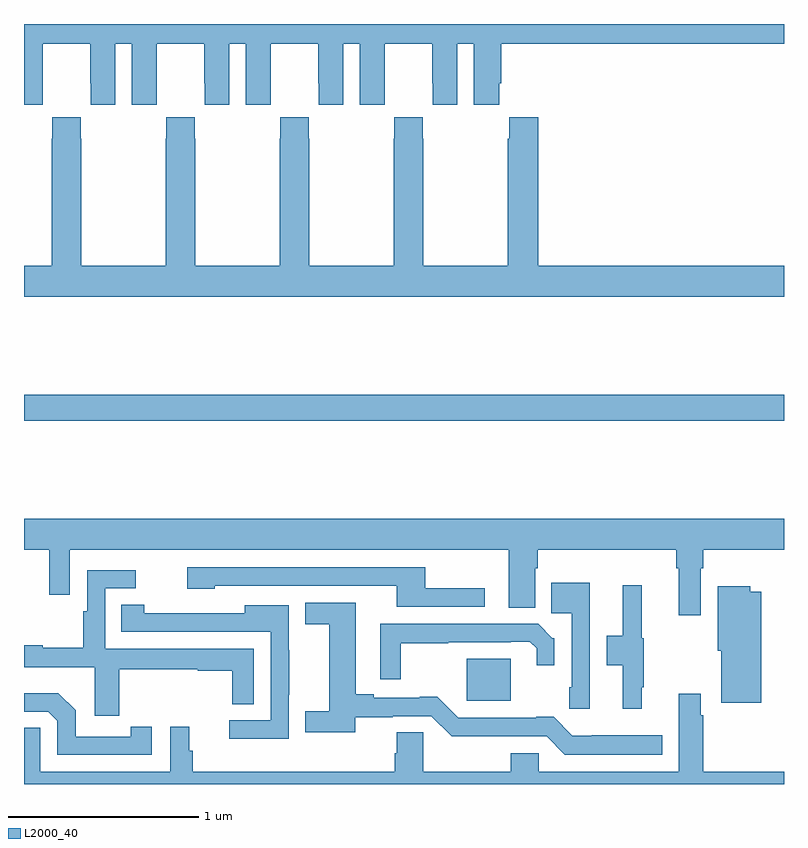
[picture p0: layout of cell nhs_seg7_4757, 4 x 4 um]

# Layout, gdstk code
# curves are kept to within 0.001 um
import gdstk
lib = gdstk.Library(unit=1e-6, precision=1e-09)
def R(c, l, rs):  # rectangles x0, y0, x1, y1
    for r in rs: c.add(gdstk.rectangle(r[:2], r[2:], *l))
def P(c, l, *ps):  # polygons
    for p in ps: c.add(gdstk.Polygon(p, *l))
L2000_40 = (2000, 40)

nhs_seg7_4757 = lib.new_cell('nhs_seg7_4757')
R(nhs_seg7_4757, L2000_40, [(411.329,1050.437,411.562,1050.658), (409,1051.912,413,1052.048)])
P(nhs_seg7_4757, L2000_40, [(409,1053.576),(409.098,1053.576),(409.098,1053.688),(409.099,1053.688),(409.099,1053.896),(409.349,1053.896),(409.349,1053.688),(409.35,1053.688),(409.35,1053.576),(409.48,1053.576),(409.48,1053.896),(409.568,1053.896),(409.568,1053.576),(409.698,1053.576),(409.698,1053.688),(409.699,1053.688),(409.699,1053.896),(409.949,1053.896),(409.949,1053.688),(409.95,1053.688),(409.95,1053.576),(410.08,1053.576),(410.08,1053.896),(410.168,1053.896),(410.168,1053.576),(410.298,1053.576),(410.298,1053.688),(410.299,1053.688),(410.299,1053.896),(410.549,1053.896),(410.549,1053.688),(410.55,1053.688),(410.55,1053.576),(410.68,1053.576),(410.68,1053.896),(410.768,1053.896),(410.768,1053.576),(410.898,1053.576),(410.898,1053.688),(410.899,1053.688),(410.899,1053.896),(411.149,1053.896),(411.149,1053.688),(411.15,1053.688),(411.15,1053.576),(411.28,1053.576),(411.28,1053.896),(411.368,1053.896),(411.368,1053.576),(411.502,1053.576),(411.502,1053.688),(411.512,1053.688),(411.512,1053.896),(413,1053.896),(413,1054),(409,1054)],
  [(413,1052.728),(411.707,1052.728),(411.707,1053.508),(411.553,1053.508),(411.553,1053.395),(411.547,1053.395),(411.547,1052.728),(411.102,1052.728),(411.102,1053.395),(411.099,1053.395),(411.099,1053.508),(410.949,1053.508),(410.949,1053.395),(410.947,1053.395),(410.947,1052.728),(410.502,1052.728),(410.502,1053.395),(410.499,1053.395),(410.499,1053.508),(410.349,1053.508),(410.349,1053.395),(410.347,1053.395),(410.347,1052.728),(409.902,1052.728),(409.902,1053.395),(409.899,1053.395),(409.899,1053.508),(409.749,1053.508),(409.749,1053.395),(409.747,1053.395),(409.747,1052.728),(409.302,1052.728),(409.302,1053.395),(409.299,1053.395),(409.299,1053.508),(409.149,1053.508),(409.149,1053.395),(409.147,1053.395),(409.147,1052.728),(409,1052.728),(409,1052.564),(413,1052.564)],
  [(409,1051.232),(409.134,1051.232),(409.134,1050.996),(409.242,1050.996),(409.242,1051.232),(411.551,1051.232),(411.551,1050.928),(411.691,1050.928),(411.691,1051.136),(411.704,1051.136),(411.704,1051.232),(412.433,1051.232),(412.433,1051.136),(412.445,1051.136),(412.445,1050.888),(412.561,1050.888),(412.561,1051.136),(412.574,1051.136),(412.574,1051.232),(413,1051.232),(413,1051.396),(409,1051.396)],
  [(411.424,1051.031),(411.111,1051.031),(411.111,1051.14),(409.86,1051.14),(409.86,1051.028),(410.004,1051.028),(410.004,1051.044),(410.963,1051.044),(410.963,1050.933),(411.424,1050.933)],
  [(409.501,1050.603),(409.915,1050.603),(409.915,1050.595),(410.096,1050.595),(410.096,1050.421),(410.208,1050.421),(410.208,1050.711),(409.428,1050.711),(409.428,1051.029),(409.588,1051.029),(409.588,1051.125),(409.332,1051.125),(409.332,1050.908),(409.312,1050.908),(409.312,1050.716),(409.098,1050.716),(409.098,1050.731),(409,1050.731),(409,1050.614),(409.373,1050.614),(409.373,1050.36),(409.501,1050.36)],
  [(411.978,1051.06),(411.776,1051.06),(411.776,1050.9),(411.882,1050.9),(411.882,1050.508),(411.87,1050.508),(411.87,1050.396),(411.978,1050.396)],
  [(412.25,1050.508),(412.261,1050.508),(412.261,1050.768),(412.25,1050.768),(412.25,1051.045),(412.151,1051.045),(412.151,1050.78),(412.067,1050.78),(412.067,1050.625),(412.151,1050.625),(412.151,1050.396),(412.25,1050.396)],
  [(412.879,1051.012),(412.823,1051.012),(412.823,1051.042),(412.652,1051.042),(412.652,1050.702),(412.67,1050.702),(412.67,1050.428),(412.879,1050.428)],
  [(412.36,1050.256),(411.885,1050.255),(411.787,1050.353),(411.695,1050.353),(411.695,1050.348),(411.285,1050.348),(411.175,1050.458),(411.083,1050.458),(411.083,1050.453),(410.842,1050.453),(410.842,1050.473),(410.746,1050.473),(410.746,1050.955),(410.479,1050.955),(410.479,1050.841),(410.606,1050.841),(410.606,1050.383),(410.479,1050.383),(410.479,1050.272),(410.743,1050.272),(410.743,1050.352),(410.94,1050.352),(410.94,1050.357),(411.144,1050.357),(411.251,1050.251),(411.75,1050.252),(411.847,1050.155),(412.36,1050.155)],
  [(410.394,1050.469),(410.396,1050.469),(410.396,1050.704),(410.394,1050.704),(410.394,1050.94),(410.162,1050.94),(410.162,1050.898),(409.632,1050.898),(409.632,1050.944),(409.513,1050.944),(409.513,1050.801),(410.298,1050.801),(410.298,1050.336),(410.079,1050.336),(410.079,1050.239),(410.394,1050.239)],
  [(410.983,1050.742),(411.233,1050.742),(411.233,1050.747),(411.563,1050.747),(411.563,1050.75),(411.662,1050.75),(411.698,1050.714),(411.698,1050.624),(411.792,1050.624),(411.792,1050.768),(411.781,1050.768),(411.706,1050.843),(410.874,1050.843),(410.874,1050.552),(410.983,1050.552)],
  [(409.672,1050.301),(409.562,1050.301),(409.562,1050.249),(409.272,1050.249),(409.272,1050.387),(409.181,1050.478),(409,1050.478),(409,1050.381),(409.128,1050.381),(409.176,1050.333),(409.176,1050.153),(409.672,1050.153)],
  [(413,1050.064),(412.574,1050.064),(412.574,1050.362),(412.561,1050.362),(412.561,1050.475),(412.445,1050.475),(412.445,1050.064),(411.708,1050.064),(411.708,1050.162),(411.562,1050.162),(411.562,1050.064),(411.102,1050.064),(411.102,1050.272),(410.963,1050.272),(410.963,1050.162),(410.951,1050.162),(410.951,1050.064),(409.888,1050.064),(409.888,1050.174),(409.87,1050.174),(409.87,1050.301),(409.769,1050.301),(409.769,1050.064),(409.086,1050.064),(409.086,1050.296),(409,1050.296),(409,1050),(413,1050)])

lib.write_gds('nhs_seg7_4757.gds')
